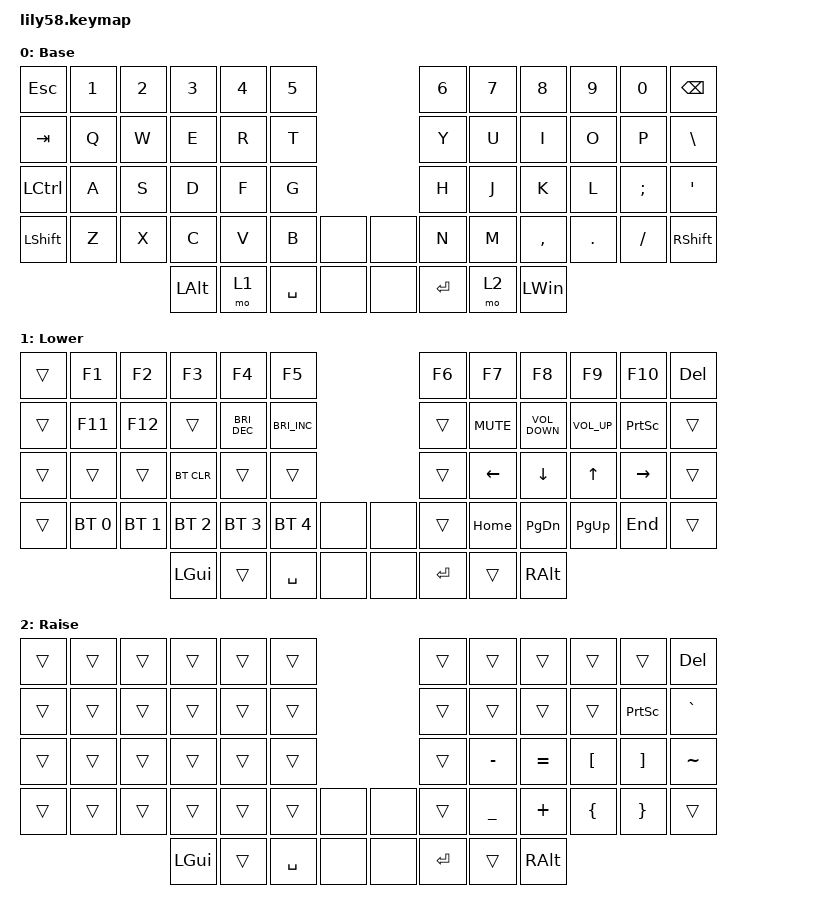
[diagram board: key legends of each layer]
/*
 * Copyright (c) 2020 The ZMK Contributors
 *
 * SPDX-License-Identifier: MIT
 */

#include <behaviors.dtsi>
#include <dt-bindings/zmk/bt.h>
#include <dt-bindings/zmk/keys.h>

/ {
    keymap {
        compatible = "zmk,keymap";

        default_layer {
            // ------------------------------------------------------------------------------------------------------------
            // |  ESC  |   1   |   2   |   3   |   4   |   5   |                   |   6   |   7   |   8   |   9   |   0   | BSPC  |
            // |  TAB  |   Q   |   W   |   E   |   R   |   T   |                   |   Y   |   U   |   I   |   O   |   P   |   \   |
            // | CTRL  |   A   |   S   |   D   |   F   |   G   |                   |   H   |   J   |   K   |   L   |   ;   |   '   |
            // | SHIFT |   Z   |   X   |   C   |   V   |   B   |  n/a   |  |  n/a  |   N   |   M   |   ,   |   .   |   /   | SHIFT |
            //                         |  ALT  | LOWER | SPACE |  n/a   |  |  n/a  | ENTER | RAISE |  WIN  |
            // Note: Silakka54 has 54 keys - the 4 positions marked n/a are not present (inner thumb + encoder positions)

            display-name = "Base";
            bindings = <
&kp ESC    &kp N1  &kp N2  &kp N3        &kp N4  &kp N5                     &kp N6   &kp N7  &kp N8        &kp N9   &kp N0    &kp BACKSPACE
&kp TAB    &kp Q   &kp W   &kp E         &kp R   &kp T                      &kp Y    &kp U   &kp I         &kp O    &kp P     &kp BACKSLASH
&kp LCTRL  &kp A   &kp S   &kp D         &kp F   &kp G                      &kp H    &kp J   &kp K         &kp L    &kp SEMI  &kp SQT
&kp LSHFT  &kp Z   &kp X   &kp C         &kp V   &kp B      &none    &none  &kp N    &kp M   &kp COMMA     &kp DOT  &kp FSLH  &kp RSHFT
                           &kp LEFT_ALT  &mo 1   &kp SPACE  &none    &none  &kp RET  &mo 2   &kp LEFT_WIN
            >;
        };

        lower_layer {
            // ------------------------------------------------------------------------------------------------------------
            // |       |  F1   |  F2   |  F3   |  F4   |  F5   |                   |  F6   |  F7   |  F8   |  F9   |  F10  |  DEL  |
            // |       |  F11  |  F12  |       | BRI-  | BRI+  |                   |       | MUTE  | VOL-  | VOL+  | PSCRN |       |
            // |       |       |       | BTCLR |       |       |                   |       |  LFT  |  DWN  |  UP   |  RGT  |       |
            // |       |  BT0  |  BT1  |  BT2  |  BT3  |  BT4  |  n/a   |  |  n/a  |       | HOME  | PG_DN | PG_UP |  END  |       |
            //                         |  GUI  |       | SPACE |  n/a   |  |  n/a  | ENTER |       |  ALT  |

            display-name = "Lower";
            bindings = <
&trans  &kp F1        &kp F2        &kp F3        &kp F4                &kp F5                                &kp F6   &kp F7      &kp F8             &kp F9           &kp F10          &kp DELETE
&trans  &kp F11       &kp F12       &trans        &kp C_BRIGHTNESS_DEC  &kp C_BRIGHTNESS_INC                  &trans   &kp K_MUTE  &kp C_VOLUME_DOWN  &kp C_VOLUME_UP  &kp PRINTSCREEN  &trans
&trans  &trans        &trans        &bt BT_CLR    &trans                &trans                                &trans   &kp LEFT    &kp DOWN           &kp UP           &kp RIGHT        &trans
&trans  &bt BT_SEL 0  &bt BT_SEL 1  &bt BT_SEL 2  &bt BT_SEL 3          &bt BT_SEL 4          &none    &none  &trans   &kp HOME    &kp PAGE_DOWN      &kp PAGE_UP      &kp END          &trans
                                    &kp LGUI      &trans                &kp SPACE             &none    &none  &kp RET  &trans      &kp RALT
            >;
        };

        raise_layer {
            // ------------------------------------------------------------------------------------------------------------
            // |       |       |       |       |       |       |                   |       |       |       |       |       |  DEL  |
            // |       |       |       |       |       |       |                   |       |       |       |       | PSCRN |   `   |
            // |       |       |       |       |       |       |                   |       |   -   |   =   |   [   |   ]   |   ~   |
            // |       |       |       |       |       |       |  n/a   |  |  n/a  |       |   _   |   +   |   {   |   }   |       |
            //                         |  GUI  |       | SPACE |  n/a   |  |  n/a  | ENTER |       |  ALT  |

            display-name = "Raise";
            bindings = <
&trans  &trans  &trans  &trans    &trans  &trans                     &trans   &trans     &trans     &trans            &trans             &kp DELETE
&trans  &trans  &trans  &trans    &trans  &trans                     &trans   &trans     &trans     &trans            &kp PRINTSCREEN    &kp GRAVE
&trans  &trans  &trans  &trans    &trans  &trans                     &trans   &kp MINUS  &kp EQUAL  &kp LEFT_BRACKET  &kp RIGHT_BRACKET  &kp TILDE
&trans  &trans  &trans  &trans    &trans  &trans     &none    &none  &trans   &kp UNDER  &kp PLUS   &kp LEFT_BRACE    &kp RIGHT_BRACE    &trans
                        &kp LGUI  &trans  &kp SPACE  &none    &none  &kp RET  &trans     &kp RALT
            >;
        };
    };
};
